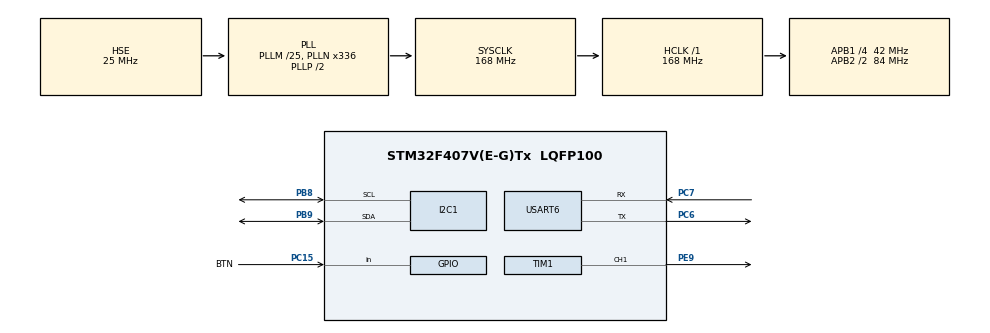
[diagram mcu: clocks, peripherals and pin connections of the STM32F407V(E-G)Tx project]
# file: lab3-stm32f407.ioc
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Mcu.Family=STM32F4
Mcu.Name=STM32F407V(E-G)Tx
Mcu.Package=LQFP100
NVIC.I2C1_EV_IRQn=true\:0\:0\:false\:false\:true\:true\:true
NVIC.PriorityGroup=NVIC_PRIORITYGROUP_4
NVIC.TIM6_DAC_IRQn=true\:0\:0\:false\:false\:true\:true\:true
NVIC.TIM7_IRQn=true\:0\:0\:false\:false\:true\:true\:true
NVIC.USART6_IRQn=true\:0\:0\:false\:false\:true\:true\:true
PB8.Mode=I2C
PB8.Signal=I2C1_SCL
PB9.Mode=I2C
PB9.Signal=I2C1_SDA
PC15-OSC32_OUT.GPIO_Label=BTN
PC15-OSC32_OUT.Signal=GPIO_Input
PC6.Mode=Asynchronous
PC6.Signal=USART6_TX
PC7.Mode=Asynchronous
PC7.Signal=USART6_RX
PE9.Signal=S_TIM1_CH1
PH0-OSC_IN.Mode=HSE-External-Oscillator
PH0-OSC_IN.Signal=RCC_OSC_IN
PH1-OSC_OUT.Mode=HSE-External-Oscillator
PH1-OSC_OUT.Signal=RCC_OSC_OUT
ProjectManager.HeapSize=0x200
ProjectManager.StackSize=0x400
ProjectManager.TargetToolchain=STM32CubeIDE
RCC.48MHZClocksFreq_Value=84000000
RCC.AHBFreq_Value=168000000
RCC.APB1CLKDivider=RCC_HCLK_DIV4
RCC.APB1Freq_Value=42000000
RCC.APB1TimFreq_Value=84000000
RCC.APB2CLKDivider=RCC_HCLK_DIV2
RCC.APB2Freq_Value=84000000
RCC.APB2TimFreq_Value=168000000
RCC.CortexFreq_Value=168000000
RCC.HCLKFreq_Value=168000000
RCC.HSE_VALUE=25000000
RCC.HSI_VALUE=16000000
RCC.LSE_VALUE=32768
RCC.PLLM=25
RCC.PLLN=336
RCC.PLLSourceVirtual=RCC_PLLSOURCE_HSE
RCC.SYSCLKFreq_VALUE=168000000
RCC.SYSCLKSource=RCC_SYSCLKSOURCE_PLLCLK
RCC.VCOOutputFreq_Value=336000000
SH.S_TIM1_CH1.0=TIM1_CH1,PWM Generation1 CH1
TIM1.Channel-PWM\ Generation1\ CH1=TIM_CHANNEL_1
TIM1.Period=20
TIM6.Period=9999
TIM6.Prescaler=83
TIM7.AutoReloadPreload=TIM_AUTORELOAD_PRELOAD_DISABLE
TIM7.Period=0
TIM7.Prescaler=41999
USART6.VirtualMode=VM_ASYNC
VP_TIM1_VS_ClockSourceINT.Mode=Internal
VP_TIM6_VS_ClockSourceINT.Mode=Enable_Timer
VP_TIM7_VS_ClockSourceINT.Mode=Enable_Timer
VP_TIM7_VS_OPM.Mode=OPM_bit
board=custom

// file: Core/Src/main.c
/* USER CODE BEGIN Header */
/**
  ******************************************************************************
  * @file           : main.c
  * @brief          : Main program body
  ******************************************************************************
  * @attention
  *
  * <h2><center>&copy; Copyright (c) 2021 STMicroelectronics.
  * All rights reserved.</center></h2>
  *
  * This software component is licensed by ST under BSD 3-Clause license,
  * the "License"; You may not use this file except in compliance with the
  * License. You may obtain a copy of the License at:
  *                        opensource.org/licenses/BSD-3-Clause
  *
  ******************************************************************************
  */
/* USER CODE END Header */
#include "main.h"

/* USER CODE BEGIN Includes */
#include "context.h"
#include "keyboard.h"
#include "note.h"
#include <string.h>
#include <stdio.h>
/* USER CODE END Includes */

I2C_HandleTypeDef hi2c1;

TIM_HandleTypeDef htim1;
TIM_HandleTypeDef htim6;
TIM_HandleTypeDef htim7;

UART_HandleTypeDef huart6;

/* USER CODE BEGIN PV */
struct console_ctx *console;
struct keyboard_ctx *keyboard;
struct notes_ctx *notes;
/* USER CODE END PV */

void SystemClock_Config(void);
static void MX_GPIO_Init(void);
static void MX_I2C1_Init(void);
static void MX_USART6_UART_Init(void);
static void MX_TIM6_Init(void);
static void MX_TIM1_Init(void);
static void MX_TIM7_Init(void);
/* USER CODE BEGIN PFP */
void HAL_TIM_PeriodElapsedCallback(TIM_HandleTypeDef *htim) {
	if(htim->Instance == TIM6) {
    	handle_keyboard(keyboard);
    } else if(htim->Instance == TIM7) {
    	buzzer_set_volume(BUZZER_VOLUME_MUTE);
    	HAL_TIM_Base_Stop(&htim7);
    	notes->has_play = 0;
    }
}

void HAL_UART_RxCpltCallback(UART_HandleTypeDef *huart) {
	console_uart_rx_callback(console, huart);
}

void HAL_UART_TxCpltCallback(UART_HandleTypeDef *huart) {
	console_uart_tx_callback(console, huart);
}
/* USER CODE END PFP */

/* USER CODE BEGIN 0 */

uint8_t cnt = 0;

void readBTN() {
	GPIO_PinState btn_state = HAL_GPIO_ReadPin(BTN_GPIO_Port, BTN_Pin);
	if(btn_state == GPIO_PIN_RESET)	{
		if (cnt <= 5) {
			cnt++;
		}
		if (cnt == 5) {
			console->debug_mode = !console->debug_mode;
			char buf[25] = { 0 };
			sprintf(buf, "Debug mode is %d\n\r", console->debug_mode);
			send_message(console, buf);
		}
	}else{
		cnt = 0;
	}
}

/* USER CODE END 0 */

int main(void)
{

  /* MCU Configuration--------------------------------------------------------*/

  /* Reset of all peripherals, Initializes the Flash interface and the Systick. */
  HAL_Init();

  /* Configure the system clock */
  SystemClock_Config();

  /* Initialize all configured peripherals */
  MX_GPIO_Init();
  MX_I2C1_Init();
  MX_USART6_UART_Init();
  MX_TIM6_Init();
  MX_TIM1_Init();
  MX_TIM7_Init();
  /* USER CODE BEGIN 2 */
  context_init(&huart6);

  console = context_get_console();
  keyboard = context_get_keyboard();
  notes = context_get_notes();

  HAL_TIM_Base_Start_IT(&htim6);
  /* USER CODE END 2 */

  /* Infinite loop */
  /* USER CODE BEGIN WHILE */
  while (1)
  {
	  if(console->debug_mode) {
		  handle_keyboard_events_debug(keyboard);
	  }else{
		  if(!notes->has_play) {
			  handle_keyboard_events(notes);
		  }
	  }

    /* USER CODE END WHILE */

    /* USER CODE BEGIN 3 */
	  readBTN();
	  HAL_Delay(10);
  }
  /* USER CODE END 3 */
}

void SystemClock_Config(void)
{
  RCC_OscInitTypeDef RCC_OscInitStruct = {0};
  RCC_ClkInitTypeDef RCC_ClkInitStruct = {0};

  /** Configure the main internal regulator output voltage
  */
  __HAL_RCC_PWR_CLK_ENABLE();
  __HAL_PWR_VOLTAGESCALING_CONFIG(PWR_REGULATOR_VOLTAGE_SCALE1);
  /** Initializes the RCC Oscillators according to the specified parameters
  * in the RCC_OscInitTypeDef structure.
  */
  RCC_OscInitStruct.OscillatorType = RCC_OSCILLATORTYPE_HSE;
  RCC_OscInitStruct.HSEState = RCC_HSE_ON;
  RCC_OscInitStruct.PLL.PLLState = RCC_PLL_ON;
  RCC_OscInitStruct.PLL.PLLSource = RCC_PLLSOURCE_HSE;
  RCC_OscInitStruct.PLL.PLLM = 25;
  RCC_OscInitStruct.PLL.PLLN = 336;
  RCC_OscInitStruct.PLL.PLLP = RCC_PLLP_DIV2;
  RCC_OscInitStruct.PLL.PLLQ = 4;
  if (HAL_RCC_OscConfig(&RCC_OscInitStruct) != HAL_OK)
  {
    Error_Handler();
  }
  /** Initializes the CPU, AHB and APB buses clocks
  */
  RCC_ClkInitStruct.ClockType = RCC_CLOCKTYPE_HCLK|RCC_CLOCKTYPE_SYSCLK
                              |RCC_CLOCKTYPE_PCLK1|RCC_CLOCKTYPE_PCLK2;
  RCC_ClkInitStruct.SYSCLKSource = RCC_SYSCLKSOURCE_PLLCLK;
  RCC_ClkInitStruct.AHBCLKDivider = RCC_SYSCLK_DIV1;
  RCC_ClkInitStruct.APB1CLKDivider = RCC_HCLK_DIV4;
  RCC_ClkInitStruct.APB2CLKDivider = RCC_HCLK_DIV2;

  if (HAL_RCC_ClockConfig(&RCC_ClkInitStruct, FLASH_LATENCY_5) != HAL_OK)
  {
    Error_Handler();
  }
}

static void MX_I2C1_Init(void)
{

  hi2c1.Instance = I2C1;
  hi2c1.Init.ClockSpeed = 100000;
  hi2c1.Init.DutyCycle = I2C_DUTYCYCLE_2;
  hi2c1.Init.OwnAddress1 = 0;
  hi2c1.Init.AddressingMode = I2C_ADDRESSINGMODE_7BIT;
  hi2c1.Init.DualAddressMode = I2C_DUALADDRESS_DISABLE;
  hi2c1.Init.OwnAddress2 = 0;
  hi2c1.Init.GeneralCallMode = I2C_GENERALCALL_DISABLE;
  hi2c1.Init.NoStretchMode = I2C_NOSTRETCH_DISABLE;
  if (HAL_I2C_Init(&hi2c1) != HAL_OK)
  {
    Error_Handler();
  }

}

static void MX_TIM1_Init(void)
{

  TIM_ClockConfigTypeDef sClockSourceConfig = {0};
  TIM_MasterConfigTypeDef sMasterConfig = {0};
  TIM_OC_InitTypeDef sConfigOC = {0};
  TIM_BreakDeadTimeConfigTypeDef sBreakDeadTimeConfig = {0};

  htim1.Instance = TIM1;
  htim1.Init.Prescaler = 0;
  htim1.Init.CounterMode = TIM_COUNTERMODE_UP;
  htim1.Init.Period = 20;
  htim1.Init.ClockDivision = TIM_CLOCKDIVISION_DIV1;
  htim1.Init.RepetitionCounter = 0;
  htim1.Init.AutoReloadPreload = TIM_AUTORELOAD_PRELOAD_DISABLE;
  if (HAL_TIM_Base_Init(&htim1) != HAL_OK)
  {
    Error_Handler();
  }
  sClockSourceConfig.ClockSource = TIM_CLOCKSOURCE_INTERNAL;
  if (HAL_TIM_ConfigClockSource(&htim1, &sClockSourceConfig) != HAL_OK)
  {
    Error_Handler();
  }
  if (HAL_TIM_PWM_Init(&htim1) != HAL_OK)
  {
    Error_Handler();
  }
  sMasterConfig.MasterOutputTrigger = TIM_TRGO_RESET;
  sMasterConfig.MasterSlaveMode = TIM_MASTERSLAVEMODE_DISABLE;
  if (HAL_TIMEx_MasterConfigSynchronization(&htim1, &sMasterConfig) != HAL_OK)
  {
    Error_Handler();
  }
  sConfigOC.OCMode = TIM_OCMODE_PWM1;
  sConfigOC.Pulse = 0;
  sConfigOC.OCPolarity = TIM_OCPOLARITY_HIGH;
  sConfigOC.OCNPolarity = TIM_OCNPOLARITY_HIGH;
  sConfigOC.OCFastMode = TIM_OCFAST_DISABLE;
  sConfigOC.OCIdleState = TIM_OCIDLESTATE_RESET;
  sConfigOC.OCNIdleState = TIM_OCNIDLESTATE_RESET;
  if (HAL_TIM_PWM_ConfigChannel(&htim1, &sConfigOC, TIM_CHANNEL_1) != HAL_OK)
  {
    Error_Handler();
  }
  sBreakDeadTimeConfig.OffStateRunMode = TIM_OSSR_DISABLE;
  sBreakDeadTimeConfig.OffStateIDLEMode = TIM_OSSI_DISABLE;
  sBreakDeadTimeConfig.LockLevel = TIM_LOCKLEVEL_OFF;
  sBreakDeadTimeConfig.DeadTime = 0;
  sBreakDeadTimeConfig.BreakState = TIM_BREAK_DISABLE;
  sBreakDeadTimeConfig.BreakPolarity = TIM_BREAKPOLARITY_HIGH;
  sBreakDeadTimeConfig.AutomaticOutput = TIM_AUTOMATICOUTPUT_DISABLE;
  if (HAL_TIMEx_ConfigBreakDeadTime(&htim1, &sBreakDeadTimeConfig) != HAL_OK)
  {
    Error_Handler();
  }
  HAL_TIM_MspPostInit(&htim1);

}

static void MX_TIM6_Init(void)
{

  TIM_MasterConfigTypeDef sMasterConfig = {0};

  htim6.Instance = TIM6;
  htim6.Init.Prescaler = 83;
  htim6.Init.CounterMode = TIM_COUNTERMODE_UP;
  htim6.Init.Period = 9999;
  htim6.Init.AutoReloadPreload = TIM_AUTORELOAD_PRELOAD_DISABLE;
  if (HAL_TIM_Base_Init(&htim6) != HAL_OK)
  {
    Error_Handler();
  }
  sMasterConfig.MasterOutputTrigger = TIM_TRGO_RESET;
  sMasterConfig.MasterSlaveMode = TIM_MASTERSLAVEMODE_DISABLE;
  if (HAL_TIMEx_MasterConfigSynchronization(&htim6, &sMasterConfig) != HAL_OK)
  {
    Error_Handler();
  }

}

static void MX_TIM7_Init(void)
{

  TIM_MasterConfigTypeDef sMasterConfig = {0};

  htim7.Instance = TIM7;
  htim7.Init.Prescaler = 41999;
  htim7.Init.CounterMode = TIM_COUNTERMODE_UP;
  htim7.Init.Period = 0;
  htim7.Init.AutoReloadPreload = TIM_AUTORELOAD_PRELOAD_DISABLE;
  if (HAL_TIM_Base_Init(&htim7) != HAL_OK)
  {
    Error_Handler();
  }
  if (HAL_TIM_OnePulse_Init(&htim7, TIM_OPMODE_SINGLE) != HAL_OK)
  {
    Error_Handler();
  }
  sMasterConfig.MasterOutputTrigger = TIM_TRGO_RESET;
  sMasterConfig.MasterSlaveMode = TIM_MASTERSLAVEMODE_DISABLE;
  if (HAL_TIMEx_MasterConfigSynchronization(&htim7, &sMasterConfig) != HAL_OK)
  {
    Error_Handler();
  }

}

static void MX_USART6_UART_Init(void)
{

  huart6.Instance = USART6;
  huart6.Init.BaudRate = 115200;
  huart6.Init.WordLength = UART_WORDLENGTH_8B;
  huart6.Init.StopBits = UART_STOPBITS_1;
  huart6.Init.Parity = UART_PARITY_NONE;
  huart6.Init.Mode = UART_MODE_TX_RX;
  huart6.Init.HwFlowCtl = UART_HWCONTROL_NONE;
  huart6.Init.OverSampling = UART_OVERSAMPLING_16;
  if (HAL_UART_Init(&huart6) != HAL_OK)
  {
    Error_Handler();
  }

}

static void MX_GPIO_Init(void)
{
  GPIO_InitTypeDef GPIO_InitStruct = {0};

  /* GPIO Ports Clock Enable */
  __HAL_RCC_GPIOC_CLK_ENABLE();
  __HAL_RCC_GPIOH_CLK_ENABLE();
  __HAL_RCC_GPIOE_CLK_ENABLE();
  __HAL_RCC_GPIOB_CLK_ENABLE();

  /*Configure GPIO pin : BTN_Pin */
  GPIO_InitStruct.Pin = BTN_Pin;
  GPIO_InitStruct.Mode = GPIO_MODE_INPUT;
  GPIO_InitStruct.Pull = GPIO_NOPULL;
  HAL_GPIO_Init(BTN_GPIO_Port, &GPIO_InitStruct);

}

void Error_Handler(void)
{
  __disable_irq();
  while (1)
  {
  }
}

/************************ (C) COPYRIGHT STMicroelectronics *****END OF FILE****/
